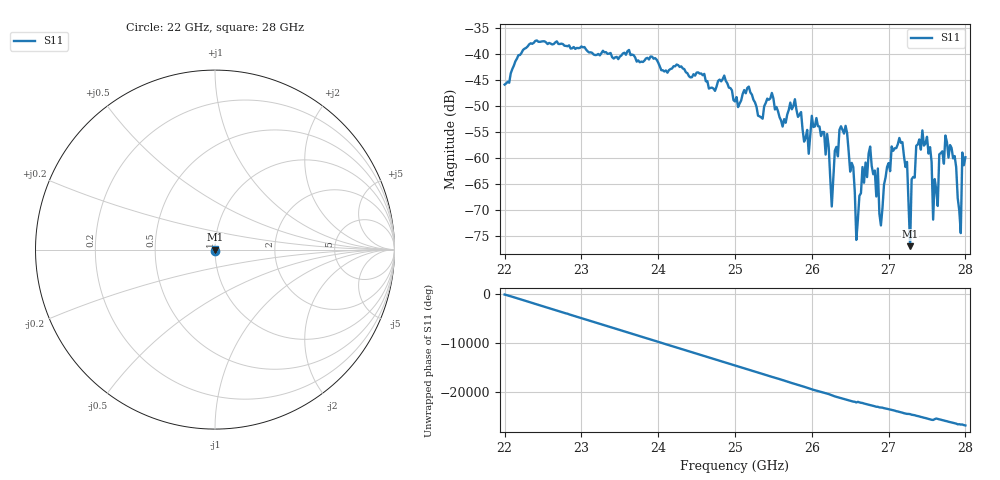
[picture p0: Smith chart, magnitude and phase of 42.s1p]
#  HZ  S  RI  R  50.00
! Rohde & Schwarz ZVA40 4Ports - Version 3.90 - 1145.1110k42 SN: 100403
! Date: 2023-10-04 10:39:38
! Measurement: S12
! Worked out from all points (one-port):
!   301 points, 22 GHz to 28 GHz, reference 50 ohm
!   lowest |S11| = -77.0 dB at 27.28 GHz (marker M1), VSWR 1.00, Z = 50 - j0.0141 ohm
!   |S11| at or under -10 dB: start of sweep to end of sweep
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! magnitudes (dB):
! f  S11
! 22 GHz  -45.9
! 22.76 GHz  -38.2
! 23.5 GHz  -40.6
! 24.26 GHz  -42.2
! 25 GHz  -49.2
! 25.76 GHz  -50.1
! 25.96 GHz  -59.2
! 26 GHz  -51.9
! 26.2 GHz  -55.4
! 26.26 GHz  -69.4
! 26.38 GHz  -53.9
! 26.5 GHz  -62.7
! 26.54 GHz  -61.8
! 26.58 GHz  -75.8
! 26.76 GHz  -57.8
! 26.9 GHz  -73.0
! 27.14 GHz  -56.2
! 27.26 GHz  -69.2
! 27.28 GHz  -77.0
! 27.3 GHz  -64.1
! 27.44 GHz  -54.7
! 27.54 GHz  -58.0
! 27.58 GHz  -71.9
! 27.74 GHz  -55.7
! 27.86 GHz  -59.7
! 27.94 GHz  -74.5
! 27.96 GHz  -59.0
! 28 GHz  -59.9
